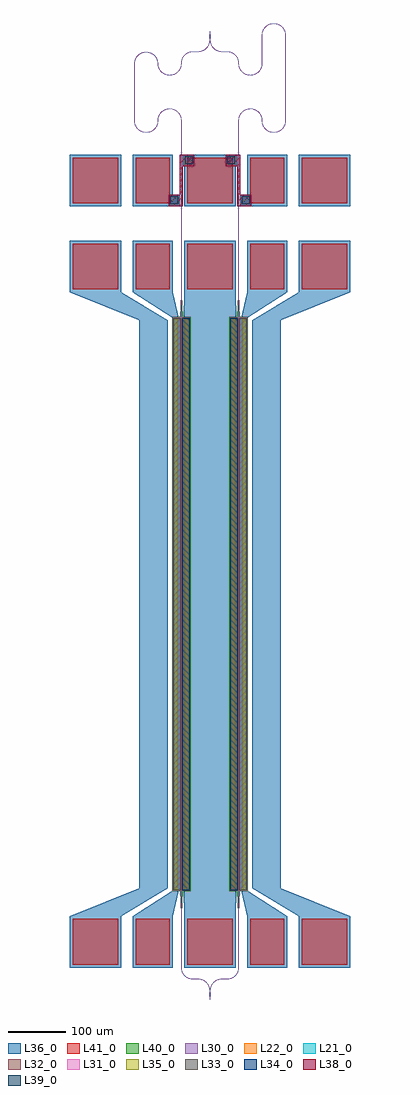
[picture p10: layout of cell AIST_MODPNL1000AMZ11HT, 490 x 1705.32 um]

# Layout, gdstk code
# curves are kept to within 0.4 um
import gdstk
lib = gdstk.Library(unit=1e-6, precision=1e-09)
def R(c, l, rs):  # rectangles x0, y0, x1, y1
    for r in rs: c.add(gdstk.rectangle(r[:2], r[2:], *l))
def A(c, l, x, y, w, h, nx, ny, dx, dy):  # array of equal rectangles
    R(c, l, [(x+i*dx, y+j*dy, x+i*dx+w, y+j*dy+h) for i in range(nx) for j in range(ny)])
def P(c, l, *ps):  # polygons
    for p in ps: c.add(gdstk.Polygon(p, *l))
L21_0 = (21, 0)
L22_0 = (22, 0)
L30_0 = (30, 0)
L31_0 = (31, 0)
L32_0 = (32, 0)
L33_0 = (33, 0)
L34_0 = (34, 0)
L35_0 = (35, 0)
L36_0 = (36, 0)
L38_0 = (38, 0)
L39_0 = (39, 0)
L40_0 = (40, 0)
L41_0 = (41, 0)

aist_modpnl1000amz11ht = lib.new_cell('AIST_MODPNL1000AMZ11HT')
R(aist_modpnl1000amz11ht, L21_0, [(-64.5,229.15,-49.85,1229.65), (49.85,229.15,64.5,1229.65)])
R(aist_modpnl1000amz11ht, L22_0, [(-50.15,228.9,-35.5,1229.9), (35.5,228.9,50.15,1229.9)])
R(aist_modpnl1000amz11ht, L30_0, [(-30,74.18,-20.55,74.62), (20.55,74.18,30,74.62)])
P(aist_modpnl1000amz11ht, L30_0, [(-50.22,94.4),(-50.22,198.4),(-50.305,208.4),(-51,228.4),(-65,228.4),(-65,1230.4),(-35,1230.4),(-35,228.4),(-49,228.4),(-49.695,208.4),(-49.78,198.4),(-49.78,94.4)],
  [(49.78,94.4),(49.78,198.4),(49.695,208.4),(49,228.4),(35,228.4),(35,1230.4),(65,1230.4),(65,228.4),(51,228.4),(50.305,208.4),(50.22,198.4),(50.22,94.4)],
  [(49,1230.4),(49.695,1250.4),(49.78,1260.4),(49.78,1574.88),(49.843,1576.398),(50.045,1578.066),(50.486,1580.098),(51.105,1581.999),(51.908,1583.83),(52.888,1585.572),(54.085,1587.272),(55.45,1588.841),(56.969,1590.261),(58.493,1591.427),(60.192,1592.482),(62.059,1593.396),(63.858,1594.065),(65.869,1594.594),(67.844,1594.905),(69.76,1595.019),(72.119,1594.989),(74.424,1594.728),(76.375,1594.293),(78.348,1593.638),(80.173,1592.82),(81.772,1591.912),(83.283,1590.862),(84.925,1589.461),(86.305,1588.014),(87.535,1586.438),(88.524,1584.887),(89.369,1583.253),(90.034,1581.624),(90.555,1579.943),(90.886,1578.46),(91.121,1576.797),(91.256,1572.6),(91.505,1570.453),(92.101,1567.962),(93.047,1565.497),(93.777,1564.072),(94.531,1562.844),(95.471,1561.548),(96.513,1560.332),(97.532,1559.313),(98.748,1558.271),(100.044,1557.331),(101.482,1556.46),(103.357,1555.556),(105.162,1554.901),(106.945,1554.44),(108.922,1554.129),(110.76,1554.021),(113.44,1554.072),(115.347,1554.305),(117.3,1554.743),(119.273,1555.405),(120.951,1556.161),(122.688,1557.156),(124.252,1558.271),(125.701,1559.533),(127.072,1560.99),(128.244,1562.513),(129.34,1564.282),(130.395,1566.527),(131.12,1568.732),(131.604,1571.165),(131.779,1573.56),(131.78,1723.88),(131.687,1725.719),(131.495,1727.147),(131.18,1728.635),(130.827,1729.867),(130.305,1731.295),(129.711,1732.608),(129.063,1733.805),(128.244,1735.087),(127.379,1736.24),(126.487,1737.268),(125.468,1738.287),(124.315,1739.279),(123.089,1740.179),(121.867,1740.943),(120.593,1741.616),(119.273,1742.195),(117.838,1742.699),(116.368,1743.092),(114.952,1743.359),(113.52,1743.522),(112.24,1743.579),(110.359,1743.57),(108.922,1743.471),(107.416,1743.253),(105.7,1742.857),(104.176,1742.366),(102.916,1741.853),(101.693,1741.254),(100.447,1740.53),(99.193,1739.67),(98.069,1738.768),(97.013,1737.787),(96.032,1736.731),(95.13,1735.607),(94.227,1734.285),(93.434,1732.894),(92.756,1731.443),(92.248,1730.095),(91.801,1728.558),(91.505,1727.147),(91.291,1725.48),(91.22,1723.88),(91.219,1673.56),(91.157,1672.202),(90.955,1670.534),(90.672,1669.123),(90.265,1667.658),(89.658,1666.007),(88.947,1664.485),(88.112,1663.028),(87.159,1661.645),(86.041,1660.286),(84.867,1659.084),(83.661,1658.034),(82.242,1656.993),(80.808,1656.118),(79.234,1655.332),(77.748,1654.739),(76.143,1654.245),(74.424,1653.872),(72.917,1653.671),(71.4,1653.584),(69.36,1653.59),(67.05,1653.796),(64.857,1654.245),(62.652,1654.962),(60.614,1655.89),(58.625,1657.083),(56.786,1658.495),(55.175,1660.05),(53.793,1661.709),(52.72,1663.3),(51.837,1664.914),(51.105,1666.601),(50.486,1668.502),(50.114,1670.14),(49.895,1671.644),(49.79,1673.16),(49.744,1676),(49.534,1677.91),(49.057,1680.1),(48.244,1682.443),(47.063,1684.805),(46.244,1686.087),(45.529,1687.052),(44.649,1688.091),(43.701,1689.067),(41.807,1690.67),(39.728,1692.023),(37.791,1692.981),(35.684,1693.746),(33.347,1694.295),(31.919,1694.487),(30.4,1694.576),(19.431,1694.611),(17.126,1694.872),(14.867,1695.395),(12.316,1696.332),(11.023,1696.965),(9.778,1697.688),(8.587,1698.498),(7.519,1699.339),(6.509,1700.25),(5.509,1701.286),(4.488,1702.517),(3.743,1703.558),(2.387,1705.914),(1.385,1708.354),(0.975,1709.734),(0.664,1711.14),(0.361,1713.681),(0.095,1720.576),(0.095,1730.504),(0.22,1730.504),(0.455,1724.728),(1.105,1724.728),(1.105,1720.576),(1.005,1720.576),(0.77,1714.72),(0.879,1712.722),(1.19,1710.746),(1.903,1708.202),(2.433,1706.862),(3.021,1705.635),(3.693,1704.451),(4.491,1703.251),(5.324,1702.174),(6.283,1701.099),(8.235,1699.321),(10.338,1697.86),(11.456,1697.234),(12.759,1696.619),(15.25,1695.743),(17.44,1695.266),(19.509,1695.047),(30.4,1695.016),(31.917,1694.929),(33.266,1694.755),(35.375,1694.293),(37.497,1693.579),(39.598,1692.597),(41.507,1691.427),(43.633,1689.733),(45.512,1687.77),(47.112,1685.572),(47.835,1684.327),(48.468,1683.034),(49.313,1680.789),(49.928,1678.224),(50.189,1675.919),(50.23,1673.159),(50.329,1671.722),(50.592,1669.98),(51.009,1668.269),(51.695,1666.305),(52.546,1664.493),(53.621,1662.711),(54.928,1660.99),(56.709,1659.151),(58.647,1657.602),(60.835,1656.271),(63.176,1655.234),(65.476,1654.544),(67.922,1654.129),(69.359,1654.03),(71.08,1654.02),(73.317,1654.156),(74.82,1654.392),(76.3,1654.743),(77.824,1655.234),(79.084,1655.747),(80.518,1656.46),(81.755,1657.199),(83,1658.075),(84.052,1658.937),(84.987,1659.813),(86.072,1660.99),(87.059,1662.251),(87.857,1663.451),(88.566,1664.706),(89.244,1666.157),(89.752,1667.505),(90.18,1668.965),(90.604,1671.165),(90.779,1673.56),(90.799,1724.68),(90.996,1726.75),(91.328,1728.477),(91.913,1730.473),(92.631,1732.253),(93.396,1733.748),(94.283,1735.175),(95.234,1736.461),(96.339,1737.725),(97.486,1738.841),(98.845,1739.959),(100.16,1740.869),(101.614,1741.71),(103.059,1742.396),(104.554,1742.965),(106.089,1743.415),(107.734,1743.755),(109.402,1743.957),(110.76,1744.019),(112.88,1744.001),(114.633,1743.848),(116.444,1743.526),(117.989,1743.113),(119.645,1742.519),(121.173,1741.82),(122.5,1741.08),(123.963,1740.102),(125.274,1739.053),(126.55,1737.841),(127.716,1736.523),(128.627,1735.307),(129.604,1733.748),(130.369,1732.253),(131.007,1730.699),(131.514,1729.098),(131.886,1727.46),(132.129,1725.717),(132.22,1723.88),(132.219,1573.56),(132.105,1571.644),(131.826,1569.826),(131.405,1568.117),(130.838,1566.452),(129.947,1564.485),(128.895,1562.691),(127.716,1561.077),(126.213,1559.418),(124.661,1558.034),(122.975,1556.817),(121.173,1555.78),(119.199,1554.905),(117.143,1554.245),(114.95,1553.796),(112.88,1553.599),(110.12,1553.599),(108.05,1553.796),(106.089,1554.185),(104.101,1554.793),(102.114,1555.637),(100.637,1556.437),(99.232,1557.357),(97.969,1558.339),(96.787,1559.418),(95.695,1560.586),(94.557,1562.032),(93.637,1563.437),(92.837,1564.914),(91.835,1567.354),(91.425,1568.734),(91.114,1570.14),(90.831,1572.361),(90.77,1575.441),(90.671,1576.878),(90.453,1578.384),(90.057,1580.1),(89.51,1581.774),(88.816,1583.393),(87.94,1585.012),(86.965,1586.478),(85.649,1588.091),(84.291,1589.449),(82.807,1590.67),(81.212,1591.74),(79.376,1592.719),(77.522,1593.474),(75.524,1594.056),(73.635,1594.404),(71.641,1594.57),(69.199,1594.564),(67.365,1594.404),(65.476,1594.056),(63.478,1593.474),(61.697,1592.753),(59.995,1591.863),(58.322,1590.765),(56.709,1589.449),(55.351,1588.091),(54.13,1586.607),(53.06,1585.012),(52.081,1583.176),(51.326,1581.322),(50.744,1579.324),(50.396,1577.435),(50.22,1574.88),(50.22,1260.4),(50.305,1250.4),(51,1230.4)],
  [(-51,1230.4),(-50.305,1250.4),(-50.22,1260.4),(-50.22,1574.88),(-50.298,1576.559),(-50.547,1578.384),(-51.009,1580.331),(-51.695,1582.295),(-52.546,1584.107),(-53.621,1585.889),(-54.928,1587.61),(-56.299,1589.067),(-57.748,1590.329),(-59.447,1591.53),(-61.192,1592.511),(-63.026,1593.31),(-64.932,1593.92),(-66.89,1594.334),(-69.039,1594.557),(-71.641,1594.57),(-73.635,1594.404),(-75.368,1594.092),(-77.295,1593.552),(-79.084,1592.853),(-80.728,1592.023),(-82.287,1591.044),(-83.81,1589.872),(-85.155,1588.616),(-86.379,1587.24),(-87.469,1585.756),(-88.34,1584.318),(-89.053,1582.884),(-89.674,1581.322),(-90.18,1579.635),(-90.495,1578.147),(-90.687,1576.719),(-90.811,1572.681),(-91.045,1570.534),(-91.595,1568.117),(-92.404,1565.859),(-93.053,1564.485),(-93.72,1563.3),(-94.557,1562.032),(-95.539,1560.769),(-96.562,1559.644),(-97.605,1558.653),(-98.717,1557.738),(-100.025,1556.817),(-101.614,1555.89),(-103.355,1555.081),(-105.087,1554.464),(-107.026,1553.974),(-108.844,1553.695),(-110.6,1553.584),(-112.88,1553.599),(-114.95,1553.796),(-116.677,1554.128),(-118.522,1554.661),(-120.234,1555.332),(-121.948,1556.196),(-123.507,1557.173),(-124.97,1558.288),(-126.213,1559.418),(-127.512,1560.83),(-128.443,1562.032),(-129.363,1563.437),(-130.163,1564.914),(-130.838,1566.452),(-131.405,1568.117),(-131.794,1569.669),(-132.068,1571.326),(-132.201,1572.92),(-132.22,1673.88),(-132.105,1675.956),(-131.726,1678.244),(-131.165,1680.246),(-130.369,1682.253),(-129.28,1684.3),(-128.062,1686.083),(-126.55,1687.841),(-124.847,1689.414),(-122.975,1690.783),(-121.03,1691.892),(-118.899,1692.807),(-116.911,1693.415),(-114.633,1693.848),(-112.4,1694.016),(-109.561,1693.969),(-107.34,1693.686),(-105.317,1693.205),(-103.652,1692.638),(-101.97,1691.892),(-100.228,1690.912),(-98.845,1689.959),(-97.486,1688.841),(-96.121,1687.492),(-94.938,1686.083),(-93.888,1684.572),(-93.09,1683.186),(-92.404,1681.741),(-91.835,1680.246),(-91.385,1678.711),(-91.072,1677.224),(-90.895,1675.956),(-90.739,1672.52),(-90.534,1670.69),(-90.12,1668.732),(-89.453,1666.677),(-88.454,1664.493),(-87.198,1662.447),(-85.81,1660.688),(-84.052,1658.937),(-83,1658.075),(-81.755,1657.199),(-80.518,1656.46),(-79.303,1655.847),(-77.974,1655.29),(-76.684,1654.854),(-75.368,1654.508),(-73.952,1654.241),(-71.24,1654.021),(-69.199,1654.036),(-67.683,1654.156),(-66.416,1654.347),(-64.932,1654.68),(-63.705,1655.048),(-62.357,1655.556),(-60.906,1656.234),(-59.515,1657.027),(-58.193,1657.93),(-56.888,1658.99),(-55.733,1660.099),(-54.621,1661.36),(-53.621,1662.711),(-52.777,1664.072),(-52.081,1665.424),(-51.49,1666.826),(-51.009,1668.269),(-50.64,1669.745),(-50.278,1672.28),(-50.193,1675.84),(-50.004,1677.75),(-49.555,1679.943),(-48.895,1681.999),(-47.759,1684.468),(-46.302,1686.763),(-44.661,1688.725),(-42.723,1690.516),(-40.772,1691.912),(-38.453,1693.169),(-36.142,1694.065),(-33.896,1694.641),(-32.236,1694.896),(-30.64,1695.01),(-19.27,1695.061),(-16.966,1695.347),(-14.712,1695.901),(-13.277,1696.405),(-12.03,1696.949),(-10.822,1697.577),(-9.594,1698.331),(-8.55,1699.075),(-7.319,1700.097),(-6.283,1701.099),(-5.324,1702.174),(-3.906,1704.112),(-2.699,1706.28),(-1.798,1708.505),(-1.142,1710.98),(-0.863,1712.881),(-0.77,1714.72),(-1.005,1720.576),(-1.105,1720.576),(-1.105,1724.728),(-0.455,1724.728),(-0.22,1730.504),(0.095,1730.504),(0.095,1720.576),(-0.095,1720.576),(-0.361,1713.681),(-0.622,1711.376),(-1.237,1708.811),(-2.181,1706.347),(-3.438,1704.028),(-4.936,1701.953),(-5.889,1700.875),(-6.917,1699.867),(-7.952,1698.984),(-9.175,1698.083),(-10.325,1697.356),(-11.664,1696.637),(-13.053,1696.021),(-14.408,1695.535),(-16.654,1694.959),(-19.111,1694.631),(-30.641,1694.57),(-32.317,1694.444),(-33.82,1694.208),(-36.067,1693.627),(-38.376,1692.719),(-40.485,1691.573),(-42.44,1690.179),(-44.377,1688.385),(-46.059,1686.349),(-47.454,1684.107),(-48.51,1681.774),(-49.18,1679.635),(-49.582,1677.593),(-49.757,1675.761),(-49.843,1672.202),(-50.206,1669.669),(-50.595,1668.117),(-51.105,1666.601),(-51.699,1665.202),(-52.396,1663.852),(-53.283,1662.425),(-54.284,1661.077),(-55.45,1659.759),(-56.605,1658.653),(-57.909,1657.593),(-59.228,1656.688),(-60.685,1655.853),(-62.207,1655.142),(-63.554,1654.635),(-65.089,1654.185),(-66.576,1653.872),(-67.844,1653.695),(-69.36,1653.59),(-71.4,1653.584),(-74.108,1653.82),(-75.444,1654.074),(-76.913,1654.464),(-79.453,1655.431),(-80.668,1656.041),(-81.975,1656.817),(-83.091,1657.593),(-84.274,1658.547),(-86.041,1660.286),(-87.535,1662.162),(-88.797,1664.202),(-89.838,1666.452),(-90.493,1668.425),(-90.955,1670.534),(-91.169,1672.361),(-91.329,1675.878),(-91.744,1678.324),(-92.173,1679.867),(-92.695,1681.295),(-93.361,1682.751),(-94.143,1684.149),(-95.178,1685.671),(-96.351,1687.091),(-97.532,1688.287),(-99.001,1689.525),(-100.515,1690.573),(-102.049,1691.439),(-103.727,1692.195),(-105.316,1692.746),(-107.416,1693.253),(-109.56,1693.528),(-112.4,1693.576),(-114.635,1693.404),(-116.835,1692.98),(-118.824,1692.366),(-120.808,1691.511),(-122.688,1690.444),(-124.44,1689.179),(-126.155,1687.616),(-127.529,1686.052),(-128.857,1684.149),(-129.919,1682.176),(-130.752,1680.095),(-131.326,1678.012),(-131.671,1675.878),(-131.78,1673.88),(-131.764,1572.999),(-131.644,1571.483),(-131.36,1569.745),(-130.946,1568.116),(-130.395,1566.527),(-129.711,1564.992),(-128.94,1563.588),(-128.059,1562.251),(-127.124,1561.052),(-125.816,1559.645),(-124.44,1558.421),(-122.956,1557.331),(-121.518,1556.46),(-119.938,1555.683),(-118.295,1555.048),(-116.524,1554.544),(-114.793,1554.218),(-112.801,1554.036),(-110.359,1554.03),(-108.683,1554.156),(-107.023,1554.424),(-105.316,1554.854),(-103.505,1555.495),(-101.835,1556.271),(-100.245,1557.199),(-99,1558.075),(-97.948,1558.937),(-97.013,1559.813),(-95.928,1560.99),(-95.035,1562.122),(-94.227,1563.315),(-93.471,1564.635),(-92.819,1566.009),(-92.009,1568.269),(-91.466,1570.69),(-91.247,1572.759),(-91.129,1576.717),(-90.928,1578.224),(-90.615,1579.711),(-90.087,1581.473),(-89.468,1583.034),(-88.682,1584.608),(-87.807,1586.042),(-86.716,1587.523),(-85.382,1589.013),(-84.031,1590.261),(-82.507,1591.427),(-80.948,1592.404),(-79.234,1593.268),(-77.446,1593.965),(-75.444,1594.526),(-73.633,1594.848),(-71.64,1595.01),(-68.881,1594.989),(-66.734,1594.755),(-64.702,1594.314),(-62.801,1593.695),(-60.97,1592.892),(-59.16,1591.869),(-57.402,1590.616),(-55.844,1589.238),(-54.488,1587.77),(-53.193,1586.042),(-52.09,1584.186),(-51.281,1582.445),(-50.595,1580.483),(-50.114,1578.46),(-49.871,1576.717),(-49.78,1574.88),(-49.78,1260.4),(-49.695,1250.4),(-49,1230.4)],
  [(-30.08,74.18),(-32.156,74.295),(-34.131,74.606),(-36.142,75.135),(-37.941,75.804),(-39.668,76.641),(-41.375,77.683),(-42.97,78.888),(-44.382,80.187),(-45.716,81.677),(-46.895,83.291),(-47.91,85.014),(-48.719,86.755),(-49.336,88.487),(-49.826,90.426),(-50.129,92.483),(-50.22,94.4),(-49.78,94.4),(-49.671,92.322),(-49.36,90.345),(-48.827,88.333),(-48.053,86.316),(-47.223,84.672),(-46.244,83.113),(-45.226,81.774),(-43.987,80.413),(-42.626,79.174),(-41.287,78.156),(-39.728,77.177),(-38.084,76.347),(-36.067,75.573),(-34.054,75.04),(-32.078,74.729),(-30,74.62),(-30,74.18)],
  [(30,74.18),(30,74.62),(32.078,74.729),(34.054,75.04),(36.067,75.573),(38.084,76.347),(39.728,77.177),(41.287,78.156),(42.626,79.174),(43.987,80.413),(45.226,81.774),(46.244,83.113),(47.223,84.672),(48.053,86.316),(48.827,88.333),(49.36,90.345),(49.671,92.322),(49.78,94.4),(50.22,94.4),(50.129,92.483),(49.826,90.426),(49.336,88.487),(48.719,86.755),(47.91,85.014),(46.895,83.291),(45.716,81.677),(44.382,80.187),(42.847,78.786),(41.242,77.593),(39.598,76.603),(37.793,75.742),(35.989,75.087),(33.974,74.574),(31.917,74.271)],
  [(-0.22,38.696),(-0.455,44.472),(-1.105,44.472),(-1.105,48.624),(-1.005,48.624),(-0.77,54.4),(-0.33,54.4),(-0.095,48.624),(0.095,48.624),(0.33,54.4),(0.77,54.4),(1.005,48.624),(1.105,48.624),(1.105,44.472),(0.455,44.472),(0.22,38.696)],
  [(0.33,54.4),(0.421,56.317),(0.724,58.374),(1.214,60.313),(1.831,62.045),(2.64,63.786),(3.655,65.509),(4.834,67.123),(6.168,68.613),(7.703,70.014),(9.308,71.207),(10.952,72.197),(12.757,73.058),(14.561,73.713),(16.576,74.226),(18.633,74.529),(20.55,74.62),(20.55,74.18),(18.472,74.071),(16.495,73.76),(14.483,73.227),(12.466,72.453),(10.822,71.623),(9.263,70.644),(7.924,69.626),(6.563,68.387),(5.324,67.026),(4.306,65.687),(3.327,64.128),(2.497,62.484),(1.723,60.467),(1.19,58.454),(0.879,56.478),(0.77,54.4)],
  [(-0.77,54.4),(-0.863,56.319),(-1.142,58.22),(-1.604,60.084),(-2.245,61.895),(-3.021,63.565),(-3.949,65.155),(-5.071,66.715),(-6.395,68.216),(-7.74,69.472),(-9.197,70.598),(-10.822,71.623),(-12.393,72.42),(-14.483,73.227),(-16.495,73.76),(-18.472,74.071),(-20.55,74.18),(-20.55,74.62),(-18.394,74.505),(-16.497,74.21),(-14.561,73.713),(-12.609,72.996),(-10.742,72.082),(-9.043,71.027),(-7.519,69.861),(-6.112,68.556),(-4.784,67.061),(-3.567,65.375),(-2.53,63.573),(-1.655,61.599),(-0.935,59.311),(-0.472,56.794),(-0.33,54.4)])
R(aist_modpnl1000amz11ht, L31_0, [(-64.5,228.9,-50,1229.9), (50,228.9,64.5,1229.9)])
R(aist_modpnl1000amz11ht, L32_0, [(-50,228.9,-35.5,1229.9), (35.5,228.9,50,1229.9)])
R(aist_modpnl1000amz11ht, L33_0, [(-64.5,229.4,-51.15,1229.4), (51.15,229.4,64.5,1229.4)])
R(aist_modpnl1000amz11ht, L34_0, [(-48.85,229.4,-35.5,1229.4), (35.5,229.4,48.85,1229.4)])
R(aist_modpnl1000amz11ht, L35_0, [(-63,230.4,-56,1228.4), (-44,230.4,-37,1228.4), (37,230.4,44,1228.4), (56,230.4,63,1228.4)])
A(aist_modpnl1000amz11ht, L36_0, -245, 94.4, 90, 90, 3, 2, 200, 1180)
A(aist_modpnl1000amz11ht, L36_0, -245, 1424.8, 90, 90, 3, 1, 200, 0)
R(aist_modpnl1000amz11ht, L36_0, [(-245,94.4,-155,184.4), (-135,94.4,-65,184.4), (65,94.4,135,184.4), (155,94.4,245,184.4), (-64.5,229.4,-54.5,1229.4), (-45.5,229.4,45.5,1229.4), (54.5,229.4,64.5,1229.4), (-123.5,233.4,-73.5,1225.4), (73.5,233.4,123.5,1225.4), (-245,1274.4,-155,1364.4), (-135,1274.4,-65,1364.4), (65,1274.4,135,1364.4), (155,1274.4,245,1364.4), (-245,1424.8,-155,1514.8), (-135,1424.8,-65,1514.8), (-72.5,1424.8,-52.5,1444.8), (-72.5,1424.8,-52.5,1444.8), (52.5,1424.8,72.5,1444.8), (52.5,1424.8,72.5,1444.8), (65,1424.8,135,1514.8), (155,1424.8,245,1514.8), (-47.5,1494.8,-27.5,1514.8), (-47.5,1494.8,-27.5,1514.8), (27.5,1494.8,47.5,1514.8), (27.5,1494.8,47.5,1514.8)])
P(aist_modpnl1000amz11ht, L36_0, [(-245,184.4),(-123.5,233.4),(-73.5,233.4),(-155,184.4)],
  [(-135,184.4),(-64.5,229.4),(-54.5,229.4),(-65,184.4)],
  [(-45,184.4),(-45.5,229.4),(45.5,229.4),(45,184.4)],
  [(65,184.4),(54.5,229.4),(64.5,229.4),(135,184.4)],
  [(155,184.4),(73.5,233.4),(123.5,233.4),(245,184.4)],
  [(-123.5,1225.4),(-245,1274.4),(-155,1274.4),(-73.5,1225.4)],
  [(-64.5,1229.4),(-135,1274.4),(-65,1274.4),(-54.5,1229.4)],
  [(-45.5,1229.4),(-45,1274.4),(45,1274.4),(45.5,1229.4)],
  [(54.5,1229.4),(65,1274.4),(135,1274.4),(64.5,1229.4)],
  [(73.5,1225.4),(155,1274.4),(245,1274.4),(123.5,1225.4)])
R(aist_modpnl1000amz11ht, L38_0, [(-72.5,1424.8,-52.5,1444.8), (-52.5,1424.8,-47.5,1514.8), (47.5,1424.8,52.5,1514.8), (52.5,1424.8,72.5,1444.8), (-47.5,1494.8,-27.5,1514.8), (27.5,1494.8,47.5,1514.8)])
R(aist_modpnl1000amz11ht, L39_0, [(-69.5,1427.8,-55.5,1441.8), (55.5,1427.8,69.5,1441.8), (-44.5,1497.8,-30.5,1511.8), (30.5,1497.8,44.5,1511.8)])
P(aist_modpnl1000amz11ht, L40_0, [(48.78,198.4),(48.695,208.4),(48,227.4),(34,227.4),(34,1231.4),(48,1231.4),(48.695,1250.4),(48.78,1260.4),(49.695,1260.4),(49.695,198.4)],
  [(50.305,198.4),(50.305,1260.4),(51.22,1260.4),(51.305,1250.4),(52,1231.4),(66,1231.4),(66,227.4),(52,227.4),(51.305,208.4),(51.22,198.4)],
  [(-51.22,198.4),(-51.305,208.4),(-52,227.4),(-66,227.4),(-66,1231.4),(-52,1231.4),(-51.305,1250.4),(-51.22,1260.4),(-50.305,1260.4),(-50.305,198.4)],
  [(-49.695,198.4),(-49.695,1260.4),(-48.78,1260.4),(-48.695,1250.4),(-48,1231.4),(-34,1231.4),(-34,227.4),(-48,227.4),(-48.695,208.4),(-48.78,198.4)])
A(aist_modpnl1000amz11ht, L41_0, -240, 99.4, 80, 80, 3, 2, 200, 1180)
A(aist_modpnl1000amz11ht, L41_0, -240, 1429.8, 80, 80, 3, 1, 200, 0)
R(aist_modpnl1000amz11ht, L41_0, [(-240,99.4,-160,179.4), (-130,99.4,-70,179.4), (70,99.4,130,179.4), (160,99.4,240,179.4), (-240,1279.4,-160,1359.4), (-130,1279.4,-70,1359.4), (70,1279.4,130,1359.4), (160,1279.4,240,1359.4), (-240,1429.8,-160,1509.8), (-130,1429.8,-70,1509.8), (70,1429.8,130,1509.8), (160,1429.8,240,1509.8)])

lib.write_gds('AIST_MODPNL1000AMZ11HT.gds')
